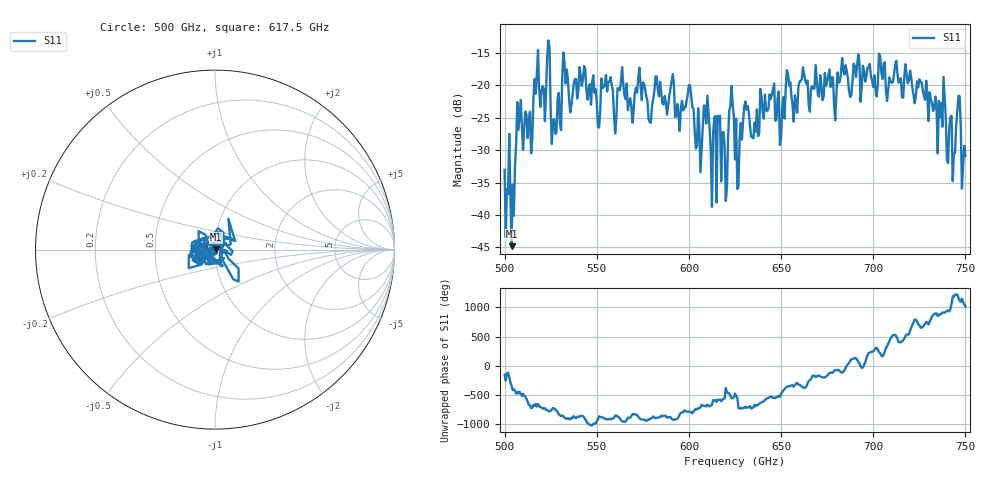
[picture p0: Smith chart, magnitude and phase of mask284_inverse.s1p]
!Created with skrf (http://scikit-rf.org).
# GHz S MA R 50.0
!freq magS11 angS11
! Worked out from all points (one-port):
!   401 points, 500 GHz to 750 GHz, reference 50 ohm
!   lowest |S11| = -44.8 dB at 503.8 GHz (marker M1), VSWR 1.01, Z = 50.5 + j0.206 ohm
!   |S11| at or under -10 dB: start of sweep to end of sweep
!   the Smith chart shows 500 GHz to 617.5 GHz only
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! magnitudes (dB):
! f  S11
! 500 GHz  -33.0
! 503.8 GHz  -44.8
! 507.5 GHz  -26.9
! 513.8 GHz  -24.1
! 516.9 GHz  -21.3
! 523.8 GHz  -13.1
! 526.9 GHz  -25.2
! 531.2 GHz  -19.0
! 542.5 GHz  -19.1
! 550.6 GHz  -26.4
! 562.5 GHz  -20.8
! 578.8 GHz  -25.7
! 590.6 GHz  -19.5
! 593.8 GHz  -22.9
! 600 GHz  -20.0
! 605 GHz  -23.5
! 609.4 GHz  -25.9
! 611.9 GHz  -30.2
! 620 GHz  -37.8
! 623.1 GHz  -20.1
! 625 GHz  -31.4
! 656.2 GHz  -23.1
! 687.5 GHz  -21.8
! 718.8 GHz  -19.7
! 738.1 GHz  -18.7
! 743.8 GHz  -30.5
! 746.2 GHz  -21.6
! 750 GHz  -30.9
